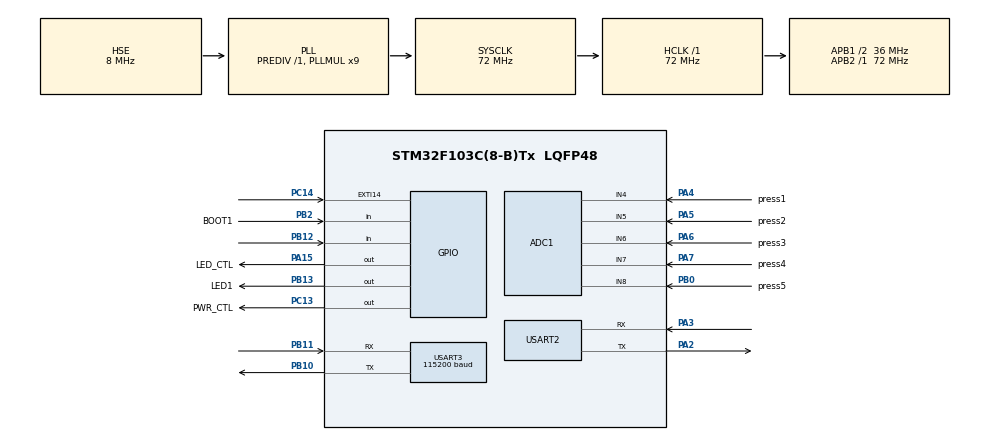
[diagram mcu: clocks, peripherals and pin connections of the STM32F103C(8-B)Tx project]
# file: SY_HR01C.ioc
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ADC1.Channel-0\#ChannelRegularConversion=ADC_CHANNEL_4
ADC1.Channel-1\#ChannelRegularConversion=ADC_CHANNEL_5
ADC1.Channel-2\#ChannelRegularConversion=ADC_CHANNEL_6
ADC1.Channel-3\#ChannelRegularConversion=ADC_CHANNEL_7
ADC1.Channel-4\#ChannelRegularConversion=ADC_CHANNEL_8
ADC1.ContinuousConvMode=DISABLE
ADC1.DataAlign=ADC_DATAALIGN_RIGHT
ADC1.DiscontinuousConvMode=DISABLE
ADC1.EnableAnalogWatchDog=false
ADC1.EnableRegularConversion=ENABLE
ADC1.ExternalTrigConv=ADC_SOFTWARE_START
ADC1.InjNumberOfConversion=0
ADC1.NbrOfConversion=5
ADC1.NbrOfConversionFlag=1
ADC1.Rank-0\#ChannelRegularConversion=1
ADC1.Rank-1\#ChannelRegularConversion=2
ADC1.Rank-2\#ChannelRegularConversion=3
ADC1.Rank-3\#ChannelRegularConversion=4
ADC1.Rank-4\#ChannelRegularConversion=5
ADC1.SamplingTime-0\#ChannelRegularConversion=ADC_SAMPLETIME_71CYCLES_5
ADC1.SamplingTime-1\#ChannelRegularConversion=ADC_SAMPLETIME_71CYCLES_5
ADC1.SamplingTime-2\#ChannelRegularConversion=ADC_SAMPLETIME_71CYCLES_5
ADC1.SamplingTime-3\#ChannelRegularConversion=ADC_SAMPLETIME_71CYCLES_5
ADC1.SamplingTime-4\#ChannelRegularConversion=ADC_SAMPLETIME_71CYCLES_5
ADC1.ScanConvMode=ADC_SCAN_ENABLE
ADC1.master=1
Dma.ADC1.1.Direction=DMA_PERIPH_TO_MEMORY
Dma.ADC1.1.Instance=DMA1_Channel1
Dma.ADC1.1.MemDataAlignment=DMA_MDATAALIGN_WORD
Dma.ADC1.1.MemInc=DMA_MINC_DISABLE
Dma.ADC1.1.Mode=DMA_NORMAL
Dma.ADC1.1.PeriphDataAlignment=DMA_PDATAALIGN_WORD
Dma.ADC1.1.PeriphInc=DMA_PINC_DISABLE
Dma.ADC1.1.Priority=DMA_PRIORITY_MEDIUM
Dma.Request0=USART2_RX
Dma.Request1=ADC1
Dma.Request2=USART3_RX
Dma.USART2_RX.0.Direction=DMA_PERIPH_TO_MEMORY
Dma.USART2_RX.0.Instance=DMA1_Channel6
Dma.USART2_RX.0.MemDataAlignment=DMA_MDATAALIGN_BYTE
Dma.USART2_RX.0.MemInc=DMA_MINC_ENABLE
Dma.USART2_RX.0.Mode=DMA_NORMAL
Dma.USART2_RX.0.PeriphDataAlignment=DMA_PDATAALIGN_BYTE
Dma.USART2_RX.0.PeriphInc=DMA_PINC_DISABLE
Dma.USART2_RX.0.Priority=DMA_PRIORITY_MEDIUM
Dma.USART3_RX.2.Direction=DMA_PERIPH_TO_MEMORY
Dma.USART3_RX.2.Instance=DMA1_Channel3
Dma.USART3_RX.2.MemDataAlignment=DMA_MDATAALIGN_BYTE
Dma.USART3_RX.2.MemInc=DMA_MINC_ENABLE
Dma.USART3_RX.2.Mode=DMA_NORMAL
Dma.USART3_RX.2.PeriphDataAlignment=DMA_PDATAALIGN_BYTE
Dma.USART3_RX.2.PeriphInc=DMA_PINC_DISABLE
Dma.USART3_RX.2.Priority=DMA_PRIORITY_MEDIUM
FREERTOS.Tasks01=defaultTask,0,128,StartDefaultTask,Default,NULL
FREERTOS.configTOTAL_HEAP_SIZE=15360
FREERTOS.configUSE_TIMERS=1
Mcu.Family=STM32F1
Mcu.Name=STM32F103C(8-B)Tx
Mcu.Package=LQFP48
NVIC.ADC1_2_IRQn=true\:5\:0\:false\:false\:true\:true\:true
NVIC.DMA1_Channel1_IRQn=true\:5\:0\:false\:false\:true\:true\:false
NVIC.DMA1_Channel3_IRQn=true\:5\:0\:false\:false\:true\:true\:false
NVIC.DMA1_Channel6_IRQn=true\:5\:0\:false\:false\:true\:true\:false
NVIC.EXTI15_10_IRQn=true\:5\:0\:false\:false\:true\:true\:true
NVIC.PriorityGroup=NVIC_PRIORITYGROUP_4
NVIC.TIM1_UP_IRQn=true\:0\:0\:false\:false\:true\:false\:false
NVIC.TIM2_IRQn=true\:5\:0\:false\:false\:true\:true\:true
NVIC.TimeBase=TIM1_UP_IRQn
NVIC.TimeBaseIP=TIM1
NVIC.USART2_IRQn=true\:5\:0\:true\:false\:true\:true\:true
NVIC.USART3_IRQn=true\:5\:0\:false\:false\:true\:true\:true
PA13.Mode=Serial_Wire
PA13.Signal=SYS_JTMS-SWDIO
PA14.Mode=Serial_Wire
PA14.Signal=SYS_JTCK-SWCLK
PA15.GPIO_Label=LED_CTL
PA15.Signal=GPIO_Output
PA2.GPIO_Speed=GPIO_SPEED_FREQ_MEDIUM
PA2.Mode=Asynchronous
PA2.Signal=USART2_TX
PA3.Mode=Asynchronous
PA3.Signal=USART2_RX
PA4.GPIO_Label=press1
PA4.Signal=ADCx_IN4
PA5.GPIO_Label=press2
PA5.Signal=ADCx_IN5
PA6.GPIO_Label=press3
PA6.Signal=ADCx_IN6
PA7.GPIO_Label=press4
PA7.Signal=ADCx_IN7
PB0.GPIO_Label=press5
PB0.Signal=ADCx_IN8
PB10.Mode=Asynchronous
PB10.Signal=USART3_TX
PB11.Mode=Asynchronous
PB11.Signal=USART3_RX
PB12.Signal=GPIO_Input
PB13.GPIO_Label=LED1
PB13.Signal=GPIO_Output
PB2.GPIO_Label=BOOT1
PB2.Signal=GPIO_Input
PC13-TAMPER-RTC.GPIO_Label=PWR_CTL
PC13-TAMPER-RTC.GPIO_PuPd=GPIO_PULLUP
PC13-TAMPER-RTC.Signal=GPIO_Output
PC14-OSC32_IN.GPIO_PuPd=GPIO_PULLUP
PC14-OSC32_IN.Signal=GPXTI14
PD0-OSC_IN.Mode=HSE-External-Oscillator
PD0-OSC_IN.Signal=RCC_OSC_IN
PD1-OSC_OUT.Mode=HSE-External-Oscillator
PD1-OSC_OUT.Signal=RCC_OSC_OUT
ProjectManager.HeapSize=0x200
ProjectManager.StackSize=0x400
ProjectManager.TargetToolchain=MDK-ARM V5
RCC.ADCPresc=RCC_ADCPCLK2_DIV6
RCC.AHBFreq_Value=72000000
RCC.APB1CLKDivider=RCC_HCLK_DIV2
RCC.APB1Freq_Value=36000000
RCC.APB1TimFreq_Value=72000000
RCC.APB2Freq_Value=72000000
RCC.APB2TimFreq_Value=72000000
RCC.HCLKFreq_Value=72000000
RCC.PLLMUL=RCC_PLL_MUL9
RCC.PLLSourceVirtual=RCC_PLLSOURCE_HSE
RCC.SYSCLKFreq_VALUE=72000000
RCC.SYSCLKSource=RCC_SYSCLKSOURCE_PLLCLK
RCC.USBFreq_Value=72000000
SH.ADCx_IN4.0=ADC1_IN4,IN4
SH.ADCx_IN5.0=ADC1_IN5,IN5
SH.ADCx_IN6.0=ADC1_IN6,IN6
SH.ADCx_IN7.0=ADC1_IN7,IN7
SH.ADCx_IN8.0=ADC1_IN8,IN8
TIM2.AutoReloadPreload=TIM_AUTORELOAD_PRELOAD_ENABLE
TIM2.Period=50
TIM2.Prescaler=7200-1
USART2.VirtualMode=VM_ASYNC
USART3.BaudRate=115200
USART3.StopBits=STOPBITS_1
USART3.VirtualMode=VM_ASYNC
VP_FREERTOS_VS_ENABLE.Mode=Enabled
VP_SYS_VS_tim1.Mode=TIM1
VP_TIM2_VS_ClockSourceINT.Mode=Internal
board=custom

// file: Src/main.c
/**
  ******************************************************************************
  * @file           : main.c
  * @brief          : Main program body
  ******************************************************************************
  * This notice applies to any and all portions of this file
  * that are not between comment pairs USER CODE BEGIN and
  * USER CODE END. Other portions of this file, whether
  * inserted by the user or by software development tools
  * are owned by their respective copyright owners.
  *
  * Copyright (c) 2019 STMicroelectronics International N.V.
  * All rights reserved.
  *
  * Redistribution and use in source and binary forms, with or without
  * modification, are permitted, provided that the following conditions are met:
  *
  * 1. Redistribution of source code must retain the above copyright notice,
  *    this list of conditions and the following disclaimer.
  * 2. Redistributions in binary form must reproduce the above copyright notice,
  *    this list of conditions and the following disclaimer in the documentation
  *    and/or other materials provided with the distribution.
  * 3. Neither the name of STMicroelectronics nor the names of other
  *    contributors to this software may be used to endorse or promote products
  *    derived from this software without specific written permission.
  * 4. This software, including modifications and/or derivative works of this
  *    software, must execute solely and exclusively on microcontroller or
  *    microprocessor devices manufactured by or for STMicroelectronics.
  * 5. Redistribution and use of this software other than as permitted under
  *    this license is void and will automatically terminate your rights under
  *    this license.
  *
  * THIS SOFTWARE IS PROVIDED BY STMICROELECTRONICS AND CONTRIBUTORS "AS IS"
  * AND ANY EXPRESS, IMPLIED OR STATUTORY WARRANTIES, INCLUDING, BUT NOT
  * LIMITED TO, THE IMPLIED WARRANTIES OF MERCHANTABILITY, FITNESS FOR A
  * PARTICULAR PURPOSE AND NON-INFRINGEMENT OF THIRD PARTY INTELLECTUAL PROPERTY
  * RIGHTS ARE DISCLAIMED TO THE FULLEST EXTENT PERMITTED BY LAW. IN NO EVENT
  * SHALL STMICROELECTRONICS OR CONTRIBUTORS BE LIABLE FOR ANY DIRECT, INDIRECT,
  * INCIDENTAL, SPECIAL, EXEMPLARY, OR CONSEQUENTIAL DAMAGES (INCLUDING, BUT NOT
  * LIMITED TO, PROCUREMENT OF SUBSTITUTE GOODS OR SERVICES; LOSS OF USE, DATA,
  * OR PROFITS; OR BUSINESS INTERRUPTION) HOWEVER CAUSED AND ON ANY THEORY OF
  * LIABILITY, WHETHER IN CONTRACT, STRICT LIABILITY, OR TORT (INCLUDING
  * NEGLIGENCE OR OTHERWISE) ARISING IN ANY WAY OUT OF THE USE OF THIS SOFTWARE,
  * EVEN IF ADVISED OF THE POSSIBILITY OF SUCH DAMAGE.
  *
  ******************************************************************************
  */
#include "main.h"
#include "stm32f1xx_hal.h"
#include "cmsis_os.h"
#include "adc.h"
#include "dma.h"
#include "tim.h"
#include "usart.h"
#include "gpio.h"

/* USER CODE BEGIN PV */
/* Private variables ---------------------------------------------------------*/

/* USER CODE END PV */

void SystemClock_Config(void);
void MX_FREERTOS_Init(void);

/* USER CODE BEGIN PFP */
/* Private function prototypes -----------------------------------------------*/

/* USER CODE END PFP */

int main(void)
{

  /* MCU Configuration----------------------------------------------------------*/

  /* Reset of all peripherals, Initializes the Flash interface and the Systick. */
  HAL_Init();

  /* Configure the system clock */
  SystemClock_Config();

  /* Initialize all configured peripherals */
  MX_GPIO_Init();
  MX_DMA_Init();
  MX_ADC1_Init();
  MX_USART2_UART_Init();
  MX_TIM2_Init();
  MX_USART3_UART_Init();
  /* USER CODE BEGIN 2 */
	HAL_TIM_Base_Start_IT(&htim2);
	HAL_GPIO_WritePin(PWR_CTL_GPIO_Port, PWR_CTL_Pin, GPIO_PIN_SET);
	HAL_GPIO_WritePin(LED_CTL_GPIO_Port, LED_CTL_Pin, GPIO_PIN_SET);
  /* USER CODE END 2 */

  /* Call init function for freertos objects (in freertos.c) */
  MX_FREERTOS_Init();

  /* Start scheduler */
  osKernelStart();

  /* We should never get here as control is now taken by the scheduler */

  /* Infinite loop */
  while (1)
  {

  }

}

void SystemClock_Config(void)
{

  RCC_OscInitTypeDef RCC_OscInitStruct;
  RCC_ClkInitTypeDef RCC_ClkInitStruct;
  RCC_PeriphCLKInitTypeDef PeriphClkInit;

    /**Initializes the CPU, AHB and APB busses clocks
    */
  RCC_OscInitStruct.OscillatorType = RCC_OSCILLATORTYPE_HSE;
  RCC_OscInitStruct.HSEState = RCC_HSE_ON;
  RCC_OscInitStruct.HSEPredivValue = RCC_HSE_PREDIV_DIV1;
  RCC_OscInitStruct.HSIState = RCC_HSI_ON;
  RCC_OscInitStruct.PLL.PLLState = RCC_PLL_ON;
  RCC_OscInitStruct.PLL.PLLSource = RCC_PLLSOURCE_HSE;
  RCC_OscInitStruct.PLL.PLLMUL = RCC_PLL_MUL9;
  if (HAL_RCC_OscConfig(&RCC_OscInitStruct) != HAL_OK)
  {
    _Error_Handler(__FILE__, __LINE__);
  }

    /**Initializes the CPU, AHB and APB busses clocks
    */
  RCC_ClkInitStruct.ClockType = RCC_CLOCKTYPE_HCLK|RCC_CLOCKTYPE_SYSCLK
                              |RCC_CLOCKTYPE_PCLK1|RCC_CLOCKTYPE_PCLK2;
  RCC_ClkInitStruct.SYSCLKSource = RCC_SYSCLKSOURCE_PLLCLK;
  RCC_ClkInitStruct.AHBCLKDivider = RCC_SYSCLK_DIV1;
  RCC_ClkInitStruct.APB1CLKDivider = RCC_HCLK_DIV2;
  RCC_ClkInitStruct.APB2CLKDivider = RCC_HCLK_DIV1;

  if (HAL_RCC_ClockConfig(&RCC_ClkInitStruct, FLASH_LATENCY_2) != HAL_OK)
  {
    _Error_Handler(__FILE__, __LINE__);
  }

  PeriphClkInit.PeriphClockSelection = RCC_PERIPHCLK_ADC;
  PeriphClkInit.AdcClockSelection = RCC_ADCPCLK2_DIV6;
  if (HAL_RCCEx_PeriphCLKConfig(&PeriphClkInit) != HAL_OK)
  {
    _Error_Handler(__FILE__, __LINE__);
  }

    /**Configure the Systick interrupt time
    */
  HAL_SYSTICK_Config(HAL_RCC_GetHCLKFreq()/1000);

    /**Configure the Systick
    */
  HAL_SYSTICK_CLKSourceConfig(SYSTICK_CLKSOURCE_HCLK);

  /* SysTick_IRQn interrupt configuration */
  HAL_NVIC_SetPriority(SysTick_IRQn, 15, 0);
}

void HAL_TIM_PeriodElapsedCallback(TIM_HandleTypeDef *htim)
{
  if (htim->Instance == TIM1) {
    HAL_IncTick();
  }
  /* USER CODE BEGIN Callback 1 */
	else if(htim->Instance == TIM2)
	{
		HAL_ADC_Start_DMA(&hadc1, (uint32_t*)ADC_Original_Value, 5);
	}
  /* USER CODE END Callback 1 */
}

void _Error_Handler(char *file, int line)
{
  while(1)
  {
  }
}

/************************ (C) COPYRIGHT STMicroelectronics *****END OF FILE****/

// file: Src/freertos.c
/* USER CODE BEGIN Header */
/**
  ******************************************************************************
  * File Name          : freertos.c
  * Description        : Code for freertos applications
  ******************************************************************************
  * This notice applies to any and all portions of this file
  * that are not between comment pairs USER CODE BEGIN and
  * USER CODE END. Other portions of this file, whether
  * inserted by the user or by software development tools
  * are owned by their respective copyright owners.
  *
  * Copyright (c) 2019 STMicroelectronics International N.V.
  * All rights reserved.
  *
  * Redistribution and use in source and binary forms, with or without
  * modification, are permitted, provided that the following conditions are met:
  *
  * 1. Redistribution of source code must retain the above copyright notice,
  *    this list of conditions and the following disclaimer.
  * 2. Redistributions in binary form must reproduce the above copyright notice,
  *    this list of conditions and the following disclaimer in the documentation
  *    and/or other materials provided with the distribution.
  * 3. Neither the name of STMicroelectronics nor the names of other
  *    contributors to this software may be used to endorse or promote products
  *    derived from this software without specific written permission.
  * 4. This software, including modifications and/or derivative works of this
  *    software, must execute solely and exclusively on microcontroller or
  *    microprocessor devices manufactured by or for STMicroelectronics.
  * 5. Redistribution and use of this software other than as permitted under
  *    this license is void and will automatically terminate your rights under
  *    this license.
  *
  * THIS SOFTWARE IS PROVIDED BY STMICROELECTRONICS AND CONTRIBUTORS "AS IS"
  * AND ANY EXPRESS, IMPLIED OR STATUTORY WARRANTIES, INCLUDING, BUT NOT
  * LIMITED TO, THE IMPLIED WARRANTIES OF MERCHANTABILITY, FITNESS FOR A
  * PARTICULAR PURPOSE AND NON-INFRINGEMENT OF THIRD PARTY INTELLECTUAL PROPERTY
  * RIGHTS ARE DISCLAIMED TO THE FULLEST EXTENT PERMITTED BY LAW. IN NO EVENT
  * SHALL STMICROELECTRONICS OR CONTRIBUTORS BE LIABLE FOR ANY DIRECT, INDIRECT,
  * INCIDENTAL, SPECIAL, EXEMPLARY, OR CONSEQUENTIAL DAMAGES (INCLUDING, BUT NOT
  * LIMITED TO, PROCUREMENT OF SUBSTITUTE GOODS OR SERVICES; LOSS OF USE, DATA,
  * OR PROFITS; OR BUSINESS INTERRUPTION) HOWEVER CAUSED AND ON ANY THEORY OF
  * LIABILITY, WHETHER IN CONTRACT, STRICT LIABILITY, OR TORT (INCLUDING
  * NEGLIGENCE OR OTHERWISE) ARISING IN ANY WAY OUT OF THE USE OF THIS SOFTWARE,
  * EVEN IF ADVISED OF THE POSSIBILITY OF SUCH DAMAGE.
  *
  ******************************************************************************
  */
/* USER CODE END Header */

#include "FreeRTOS.h"
#include "task.h"
#include "main.h"
#include "cmsis_os.h"

/* USER CODE BEGIN Includes */
#include "stm32f1xx_hal.h"
#include "imu_me1_uart_task.h"
#include "ble_wt-bt200a_uart_task.h"
#include "bending_sensor_adc_task.h"
/* USER CODE END Includes */

osThreadId defaultTaskHandle;

void StartDefaultTask(void const * argument);

void MX_FREERTOS_Init(void); /* (MISRA C 2004 rule 8.1) */

void MX_FREERTOS_Init(void) {

  /* Create the thread(s) */
  /* definition and creation of defaultTask */
  osThreadDef(defaultTask, StartDefaultTask, osPriorityNormal, 0, 128);
  defaultTaskHandle = osThreadCreate(osThread(defaultTask), NULL);

  /* USER CODE BEGIN RTOS_THREADS */
  /* add threads, ... */
	init_imu_me1_uart_task();
	init_thread_of_host_uart_tx();
	init_thread_of_host_uart_rx();
	init_thread_of_sensor_calibration();
	init_ble_reset_task();
  /* USER CODE END RTOS_THREADS */

}

void StartDefaultTask(void const * argument)
{

  /* USER CODE BEGIN StartDefaultTask */

  /* Infinite loop */
  for(;;)
  {
		osDelay(500);
//		HAL_ADC_Start_DMA(&hadc1, (uint32_t*)ADC_Original_Value, 5);
		HAL_GPIO_TogglePin(LED1_GPIO_Port,LED1_Pin);
  }
  /* USER CODE END StartDefaultTask */
}

/* USER CODE BEGIN Application */
void mcu_real_kill(void)
{
	HAL_GPIO_WritePin(PWR_CTL_GPIO_Port, PWR_CTL_Pin, GPIO_PIN_RESET);
	return;
}

void HAL_GPIO_EXTI_Callback(uint16_t GPIO_Pin)
{
	switch(GPIO_Pin){
		case GPIO_PIN_14:
			if(HAL_GetTick() > 1000){
				mcu_real_kill();
			}
			break;
	}
}

/* USER CODE END Application */

/************************ (C) COPYRIGHT STMicroelectronics *****END OF FILE****/
